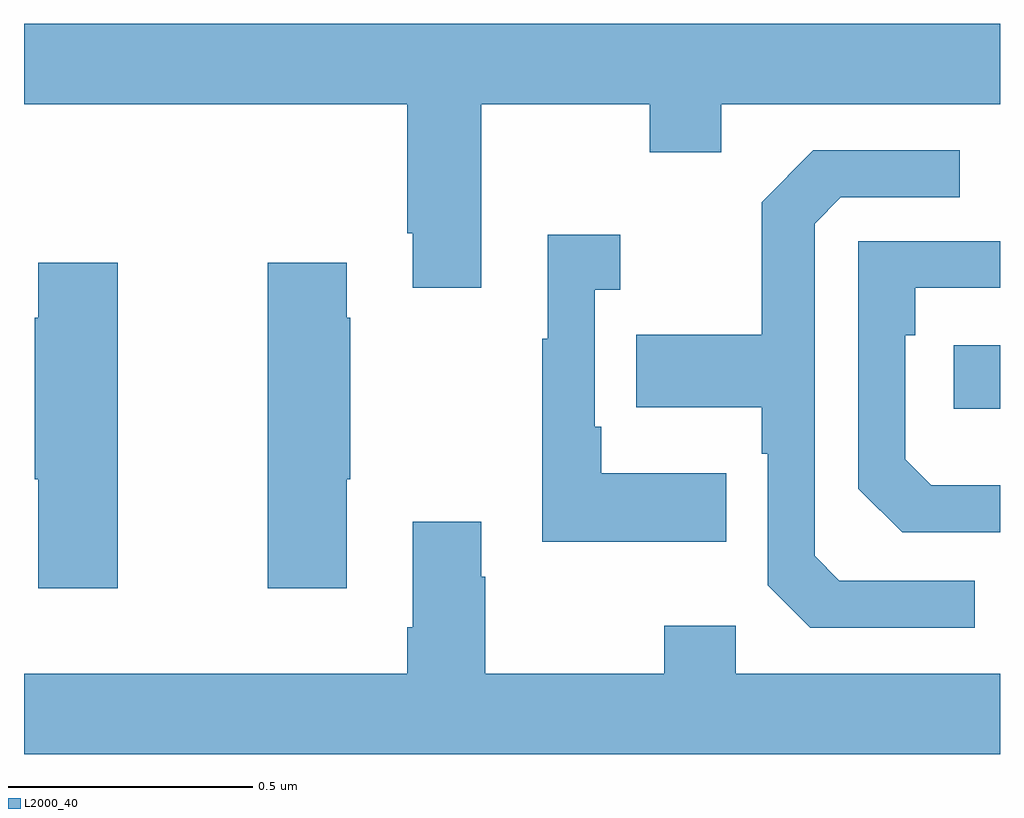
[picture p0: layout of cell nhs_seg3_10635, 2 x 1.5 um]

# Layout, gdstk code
import gdstk
lib = gdstk.Library(unit=1e-6, precision=1e-09)
def R(c, l, rs):  # rectangles x0, y0, x1, y1
    for r in rs: c.add(gdstk.rectangle(r[:2], r[2:], *l))
def P(c, l, *ps):  # polygons
    for p in ps: c.add(gdstk.Polygon(p, *l))
L2000_40 = (2000, 40)

nhs_seg3_10635 = lib.new_cell('nhs_seg3_10635')
R(nhs_seg3_10635, L2000_40, [(244.905,713.612,245,713.742)])
P(nhs_seg3_10635, L2000_40, [(243,714.236),(243.785,714.236),(243.785,713.971),(243.797,713.971),(243.797,713.859),(243.937,713.859),(243.937,714.236),(244.282,714.236),(244.282,714.137),(244.429,714.137),(244.429,714.236),(245,714.236),(245,714.4),(243,714.4)],
  [(244.948,713.259),(244.671,713.259),(244.62,713.31),(244.62,713.991),(244.674,714.045),(244.918,714.045),(244.918,714.141),(244.617,714.141),(244.512,714.035),(244.512,713.763),(244.255,713.763),(244.255,713.615),(244.512,713.615),(244.512,713.519),(244.524,713.519),(244.524,713.25),(244.611,713.163),(244.948,713.163)],
  [(244.439,713.479),(244.183,713.479),(244.183,713.575),(244.17,713.575),(244.17,713.855),(244.222,713.855),(244.222,713.968),(244.073,713.968),(244.073,713.755),(244.062,713.755),(244.062,713.339),(244.439,713.339)],
  [(245,713.455),(244.859,713.455),(244.806,713.508),(244.806,713.762),(244.826,713.762),(244.826,713.859),(245,713.859),(245,713.955),(244.71,713.955),(244.71,713.448),(244.8,713.358),(245,713.358)],
  [(243.192,713.911),(243.029,713.911),(243.029,713.798),(243.022,713.798),(243.022,713.467),(243.029,713.467),(243.029,713.244),(243.192,713.244)],
  [(243.661,713.467),(243.669,713.467),(243.669,713.798),(243.661,713.798),(243.661,713.911),(243.499,713.911),(243.499,713.244),(243.661,713.244)],
  [(245,713.068),(244.458,713.068),(244.458,713.167),(244.312,713.167),(244.312,713.068),(243.945,713.068),(243.945,713.267),(243.937,713.267),(243.937,713.38),(243.797,713.38),(243.797,713.164),(243.785,713.164),(243.785,713.068),(243,713.068),(243,712.904),(245,712.904)])

lib.write_gds('nhs_seg3_10635.gds')
